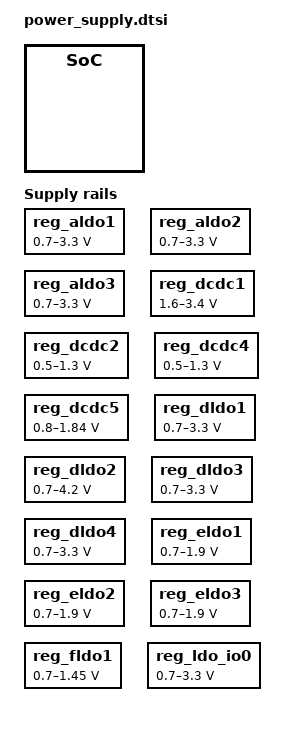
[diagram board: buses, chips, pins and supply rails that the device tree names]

#include "axp803.dtsi"

&ac_power_supply {
	pmu_ac_vol = <4600>;
	pmu_ac_cur = <3000>;

	wakeup_ac_in;
	wakeup_ac_out;
	status = "okay";
};

&reg_aldo1 {
	regulator-min-microvolt = <700000>;
	regulator-max-microvolt = <3300000>;
	regulator-enable-ramp-delay = <1000>;
	regulator-boot-on;
	regulator-always-on;
	regulator-name = "vcc-pll-avcc";
};

&reg_aldo2 {
	regulator-min-microvolt = <700000>;
	regulator-max-microvolt = <3300000>;
	regulator-enable-ramp-delay = <1000>;
	regulator-always-on;
	regulator-name = "vcc-dram-1";
};

&reg_aldo3 {
	regulator-min-microvolt = <700000>;
	regulator-max-microvolt = <3300000>;
	regulator-enable-ramp-delay = <1000>;
	regulator-always-on;
	regulator-boot-on;
	regulator-name = "vcc-usb-pl";
};

&reg_dcdc1 {
	regulator-min-microvolt = <1600000>;
	regulator-max-microvolt = <3400000>;
	regulator-ramp-delay = <2500>;
	regulator-enable-ramp-delay = <1000>;
	regulator-boot-on;
	regulator-always-on;
	regulator-name = "vcc-io-usb-pd-emmc-nand-card";
};

&reg_dcdc2 {
	regulator-min-microvolt = <500000>;
	regulator-max-microvolt = <1300000>;
	regulator-ramp-delay = <2500>;
	regulator-enable-ramp-delay = <1000>;
	regulator-boot-on;
	regulator-always-on;
	regulator-name = "vdd-cpux";
};

/* DCDC3 is polyphased with DCDC2 */

&reg_dcdc4 {
	regulator-min-microvolt = <500000>;
	regulator-max-microvolt = <1300000>;
	regulator-ramp-delay = <2500>;
	regulator-enable-ramp-delay = <1000>;
	regulator-boot-on;
	regulator-always-on;
	regulator-name = "vdd-sys-usb-dram";
};

&reg_dcdc5 {
	regulator-min-microvolt = <800000>;
	regulator-max-microvolt = <1840000>;
	regulator-ramp-delay = <2500>;
	regulator-enable-ramp-delay = <1000>;
	regulator-always-on;
	regulator-name = "vcc-dram-2";
};

&reg_dldo1 {
	regulator-min-microvolt = <700000>;
	regulator-max-microvolt = <3300000>;
	regulator-enable-ramp-delay = <1000>;
	regulator-name = "vcc-pg-dcxo-wifi";
};

&reg_dldo2 {
	regulator-min-microvolt = <700000>;
	regulator-max-microvolt = <4200000>;
	regulator-enable-ramp-delay = <1000>;
	regulator-name = "vcc-pe-csi";
};

&reg_dldo3 {
	regulator-min-microvolt = <700000>;
	regulator-max-microvolt = <3300000>;
	regulator-enable-ramp-delay = <1000>;
	regulator-name = "ldo-avdd-csi";
};

&reg_dldo4 {
	regulator-min-microvolt = <700000>;
	regulator-max-microvolt = <3300000>;
	regulator-enable-ramp-delay = <1000>;
	regulator-name = "avcc-csi";
};

&reg_eldo1 {
	regulator-min-microvolt = <700000>;
	regulator-max-microvolt = <1900000>;
	regulator-enable-ramp-delay = <1000>;
	regulator-name = "vcc-pc-lvds-csi-efuse-emmc-nand";
};

&reg_eldo2 {
	regulator-min-microvolt = <700000>;
	regulator-max-microvolt = <1900000>;
	regulator-enable-ramp-delay = <1000>;
	regulator-name = "dvdd-csi";
};

&reg_eldo3 {
	regulator-min-microvolt = <700000>;
	regulator-max-microvolt = <1900000>;
	regulator-enable-ramp-delay = <1000>;
	regulator-name = "vcc-mipi-lcd";
};

&reg_fldo1 {
	regulator-min-microvolt = <700000>;
	regulator-max-microvolt = <1450000>;
	regulator-enable-ramp-delay = <1000>;
	regulator-always-on;
	regulator-name = "vdd-cpus-usb";
};

&reg_ldo_io0 {
	regulator-min-microvolt = <700000>;
	regulator-max-microvolt = <3300000>;
	regulator-enable-ramp-delay = <1000>;
	regulator-name = "vcc-ctp";
	status = "okay";
};

&reg_drivevbus {
	regulator-name = "usb0-vbus";
	status = "okay";
};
